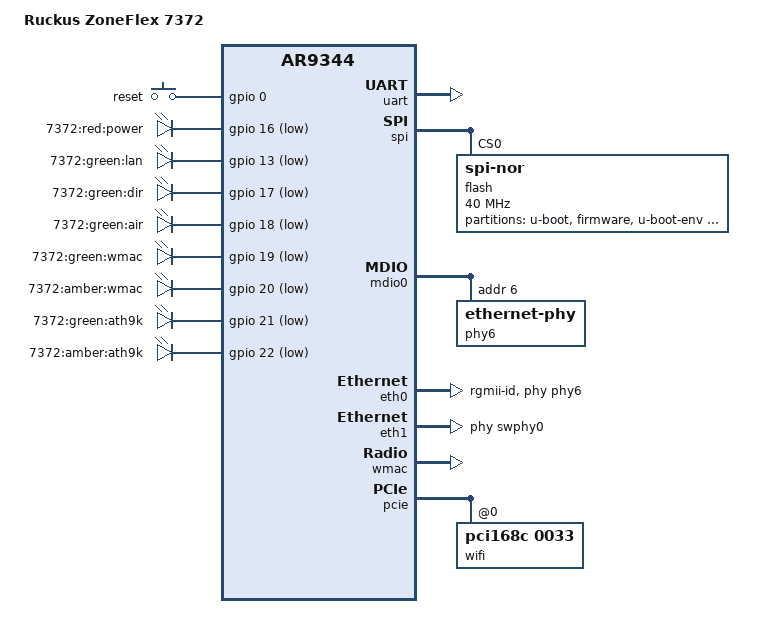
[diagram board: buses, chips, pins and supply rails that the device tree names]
// SPDX-License-Identifier: GPL-2.0-or-later OR MIT
/dts-v1/;

#include <dt-bindings/gpio/gpio.h>
#include <dt-bindings/input/input.h>

#include "ar9344.dtsi"

/ {
	compatible = "ruckus,7372", "qca,ar9344";
	model = "Ruckus ZoneFlex 7372";

	aliases {
		led-boot = &dir;
		led-failsafe = &dir;
		led-running = &dir;
		led-upgrade = &dir;
		label-mac-device = &eth0;
	};

	keys {
		compatible = "gpio-keys";

		reset {
			label = "reset";
			linux,code = <KEY_RESTART>;
			gpios = <&gpio 0 GPIO_ACTIVE_HIGH>;
			debounce-interval = <60>;
		};
	};

	leds {
		compatible = "gpio-leds";

		pinctrl-names = "default";
		pinctrl-0 = <&jtag_disable_pins>;

		power_red {
			label = "7372:red:power";
			gpios = <&gpio 16 GPIO_ACTIVE_LOW>;
			default-state = "on";
		};

		lan {
			label = "7372:green:lan";
			gpios = <&gpio 13 GPIO_ACTIVE_LOW>;
		};

		dir: dir {
			label = "7372:green:dir";
			gpios = <&gpio 17 GPIO_ACTIVE_LOW>;
		};

		air {
			label = "7372:green:air";
			gpios = <&gpio 18 GPIO_ACTIVE_LOW>;
		};

		wmac {
			label = "7372:green:wmac";
			gpios = <&gpio 19 GPIO_ACTIVE_LOW>;
		};

		wmac_act {
			label = "7372:amber:wmac";
			gpios = <&gpio 20 GPIO_ACTIVE_LOW>;
			linux,default-trigger = "phy0tpt";
		};

		ath9k {
			label = "7372:green:ath9k";
			gpios = <&gpio 21 GPIO_ACTIVE_LOW>;
		};

		ath9k_act {
			label = "7372:amber:ath9k";
			gpios = <&gpio 22 GPIO_ACTIVE_LOW>;
			linux,default-trigger = "phy1tpt";
		};
	};
};

&ref {
	clock-frequency = <40000000>;
};

&uart {
	status = "okay";
};

&spi {
	status = "okay";

	num-cs = <1>;

	flash@0 {
		compatible = "jedec,spi-nor";
		reg = <0>;
		spi-max-frequency = <40000000>;

		partitions {
			compatible = "fixed-partitions";
			#address-cells = <1>;
			#size-cells = <1>;

			uboot: partition@0 {
				label = "u-boot";
				reg = <0x000000 0x040000>;
				read-only;
			};

			partition@40000 {
				compatible = "denx,uimage";
				label = "firmware";
				reg = <0x040000 0xf00000>;
			};

			partition@f40000 {
				label = "u-boot-env";
				reg = <0xf40000 0x040000>;
			};

			art: partition@f80000 {
				label = "art";
				reg = <0xf80000 0x080000>;
				read-only;
			};

			partition@1000000 {
				label = "firmware2";
				reg = <0x1000000 0x1000000>;
			};
		};
	};
};

&mdio0 {
	status = "okay";

	phy6: ethernet-phy@6 {
		reg = <6>;
		eee-broken-100tx;
		eee-broken-1000t;
	};
};

&eth0 {
	status = "okay";

	mtd-mac-address = <&art 0x60>;

	phy-handle = <&phy6>;
	phy-mode = "rgmii-id";

	pll-data = <0x0e000000 0x08000101 0x08001313>;

	gmac-config {
		device = <&gmac>;
		rgmii-gmac0 = <1>;
		rxdv-delay = <3>;
		rxd-delay = <3>;
		txen-delay = <3>;
		txd-delay = <3>;
	};
};

&eth1 {
	status = "okay";

	mtd-mac-address = <&art 0x66>;

	phy-handle = <&swphy0>;
};

&wmac {
	status = "okay";

	mtd-cal-data = <&art 0x41000>;
	mtd-mac-address = <&art 0x6c>;
};

&pcie {
	status = "okay";

	wifi@168c,0033 {
		compatible = "pci168c,0033";
		reg = <0x0 0 0 0 0>;
		mtd-mac-address = <&art 0x76>;
	};
};
